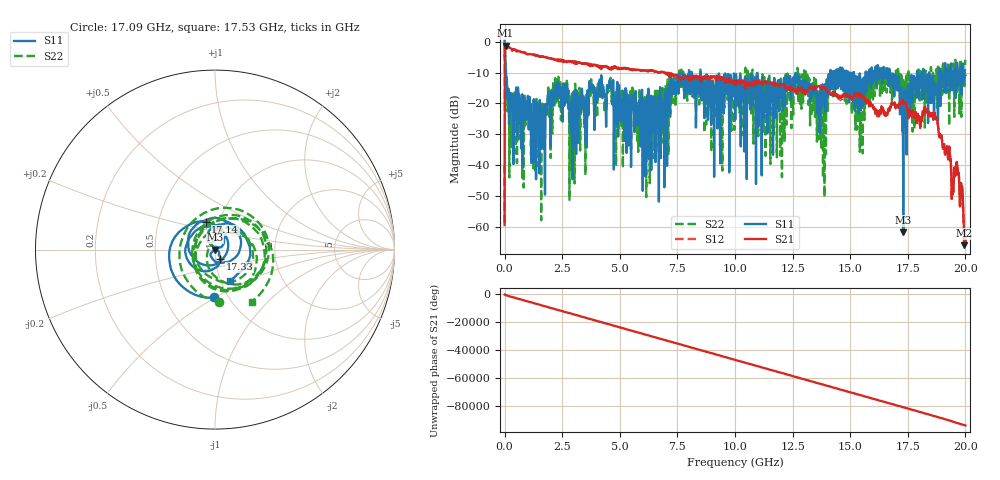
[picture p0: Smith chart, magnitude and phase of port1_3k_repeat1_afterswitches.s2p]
! MS46122B
! 2250307/22442219
! 8/4/2025 8:11:12 AM
! C:\USERS\SPARKY\DOCUMENTS\VNA_DATA\AUGUST4_2025\3K\PORT1_REPEAT1.S2P
! CHANNEL.1
! TR.MEASUREMENT
! RAW.DATA
# GHZ S RI R 50.0
! FREQ.GHZ  S11RE  S11IM  S21RE  S21IM  S12RE  S12IM  S22RE  S22IM
!; PortSelection: Port_12
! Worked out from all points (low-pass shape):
!   10001 points, 1 MHz to 20 GHz, reference 50 ohm
!   highest |S21| = -1.30 dB at 45 MHz (marker M1); lowest = -66.1 dB at 19.95 GHz (marker M2)
!   |S21| within 3 dB of the highest: 18.3 MHz to 1.274 GHz (1.255 GHz wide, 194 % of centre); 1.29 GHz to 1.306 GHz (15.98 MHz wide, 1.23 % of centre) (the widest 2 of 4)
!   lowest |S11| = -61.9 dB at 17.3 GHz (marker M3), VSWR 1.00, Z = 49.9 + j0.00513 ohm
!   |S11| at or under -10 dB: 63.35 MHz to 7.997 GHz (7.933 GHz wide, 197 % of centre); 8.512 GHz to 14.13 GHz (5.622 GHz wide, 49.7 % of centre); 16.72 GHz to 17.9 GHz (1.184 GHz wide, 6.84 % of centre) (the widest 3 of 42)
!   |S22| runs from -57.9 to -0.1 dB; largest |S21 - S12| = 0.062
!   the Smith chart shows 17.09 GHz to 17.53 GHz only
!   S11 on the Smith chart (normalised r, x): 17.09 GHz: 0.86, -0.49; 17.14 GHz: 0.86, +0.27; 17.33 GHz: 1.06, -0.11; 17.53 GHz: 1.10, -0.40
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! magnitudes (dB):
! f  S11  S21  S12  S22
! 1 MHz  0.4  -59.4  -58.9  -0.1
! 45 MHz  -10.1  -1.3  -1.6  -11.9
! 131 MHz  -17.3  -1.6  -1.7  -19.7
! 1.235 GHz  -33.5  -4.2  -4.2  -29.9
! 2.265 GHz  -18.0  -5.9  -5.9  -12.3
! 3.335 GHz  -18.8  -6.9  -7.0  -16.4
! 6.669 GHz  -17.9  -10.0  -10.0  -21.5
! 10 GHz  -19.1  -12.9  -12.8  -12.0
! 13.33 GHz  -17.7  -14.7  -14.9  -19.4
! 13.88 GHz  -14.3  -14.8  -14.7  -50.4
! 14.58 GHz  -8.9  -18.2  -18.9  -9.6
! 15.45 GHz  -20.2  -17.4  -17.5  -23.7
! 16.67 GHz  -12.6  -22.0  -22.1  -14.5
! 17.09 GHz  -11.5  -21.3  -21.3  -10.7
! 17.14 GHz  -15.8  -19.9  -20.2  -11.0
! 17.3 GHz  -61.9  -19.7  -19.6  -11.8
! 17.33 GHz  -24.6  -20.1  -20.1  -20.7
! 17.53 GHz  -14.3  -24.8  -24.8  -9.0
! 18.72 GHz  -14.8  -24.9  -25.0  -9.5
! 19.63 GHz  -6.8  -39.4  -39.3  -10.4
! 19.95 GHz  -12.9  -66.1  -66.3  -12.5
! 20 GHz  -11.0  -63.2  -63.8  -5.9
